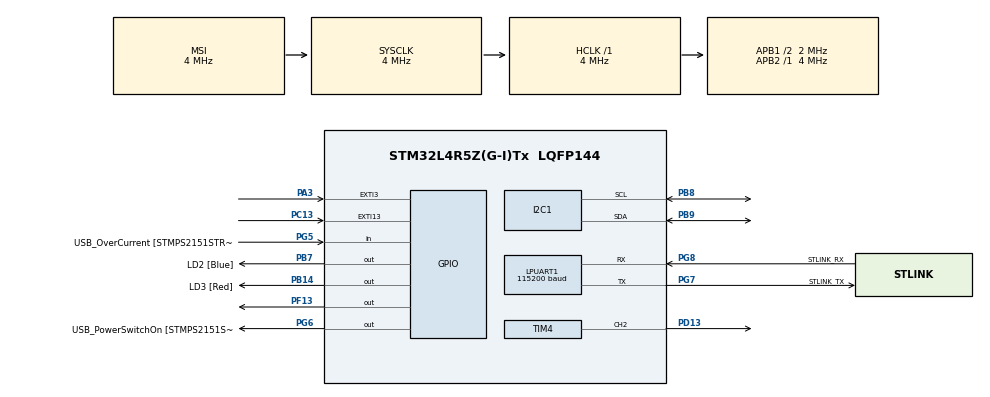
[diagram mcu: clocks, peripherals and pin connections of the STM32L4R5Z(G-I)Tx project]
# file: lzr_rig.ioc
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I2C1.Timing=0x00000508
LPUART1.BaudRate=115200
LPUART1.WordLength=UART_WORDLENGTH_8B
Mcu.Family=STM32L4
Mcu.Name=STM32L4R5Z(G-I)Tx
Mcu.Package=LQFP144
NVIC.EXTI3_IRQn=true\:0\:0\:false\:false\:true\:true\:true\:true
NVIC.PriorityGroup=NVIC_PRIORITYGROUP_4
NVIC.TIM4_IRQn=true\:0\:0\:false\:false\:true\:true\:true\:true
PA10.GPIO_Label=USB_ID
PA10.Signal=USB_OTG_FS_ID
PA11.GPIO_Label=USB_DM
PA11.Signal=USB_OTG_FS_DM
PA12.GPIO_Label=USB_DP
PA12.Signal=USB_OTG_FS_DP
PA13\ (JTMS/SWDIO).GPIO_Label=TMS
PA13\ (JTMS/SWDIO).Mode=Trace_Asynchronous_SW
PA13\ (JTMS/SWDIO).Signal=SYS_JTMS-SWDIO
PA14\ (JTCK/SWCLK).GPIO_Label=TCK
PA14\ (JTCK/SWCLK).Mode=Trace_Asynchronous_SW
PA14\ (JTCK/SWCLK).Signal=SYS_JTCK-SWCLK
PA3.Signal=GPXTI3
PA8.GPIO_Label=USB_SOF [TP1]
PA8.Signal=USB_OTG_FS_SOF
PA9.GPIO_Label=USB_VBUS
PA9.Signal=USB_OTG_FS_VBUS
PB14.GPIO_Label=LD3 [Red]
PB14.Signal=GPIO_Output
PB3\ (JTDO/TRACESWO).GPIO_Label=SWO
PB3\ (JTDO/TRACESWO).Mode=Trace_Asynchronous_SW
PB3\ (JTDO/TRACESWO).Signal=SYS_JTDO-SWO
PB7.GPIO_Label=LD2 [Blue]
PB7.Signal=GPIO_Output
PB8.Mode=I2C
PB8.Signal=I2C1_SCL
PB9.Mode=I2C
PB9.Signal=I2C1_SDA
PC13.Signal=GPXTI13
PC14-OSC32_IN\ (PC14).Mode=LSE-External-Oscillator
PC14-OSC32_IN\ (PC14).Signal=RCC_OSC32_IN
PC15-OSC32_OUT\ (PC15).Mode=LSE-External-Oscillator
PC15-OSC32_OUT\ (PC15).Signal=RCC_OSC32_OUT
PD13.Signal=S_TIM4_CH2
PD8.GPIO_Label=STLK_RX [STM32F103CBT6_PA3]
PD8.Signal=USART3_TX
PD9.GPIO_Label=STLK_TX [STM32F103CBT6_PA2]
PD9.Signal=USART3_RX
PF13.Signal=GPIO_Output
PG5.GPIO_Label=USB_OverCurrent [STMPS2151STR_FAULT]
PG5.Signal=GPIO_Input
PG6.GPIO_Label=USB_PowerSwitchOn [STMPS2151STR_En]
PG6.Signal=GPIO_Output
PG7.GPIO_Label=STLINK_TX
PG7.Mode=Asynchronous
PG7.Signal=LPUART1_TX
PG8.GPIO_Label=STLINK_RX
PG8.Mode=Asynchronous
PG8.Signal=LPUART1_RX
PH0-OSC_IN\ (PH0).Mode=HSE-External-Clock-Source
PH0-OSC_IN\ (PH0).Signal=RCC_OSC_IN
PH1-OSC_OUT\ (PH1).Signal=RCC_OSC_OUT
ProjectManager.HeapSize=0x200
ProjectManager.StackSize=0x400
ProjectManager.TargetToolchain=STM32CubeIDE
RCC.48MHZClocksFreq_Value=24000000
RCC.AHBFreq_Value=4000000
RCC.APB1CLKDivider=RCC_HCLK_DIV2
RCC.APB1Freq_Value=2000000
RCC.APB1TimFreq_Value=4000000
RCC.APB2Freq_Value=4000000
RCC.APB2TimFreq_Value=4000000
RCC.CortexFreq_Value=4000000
RCC.HCLKFreq_Value=4000000
RCC.HSE_VALUE=8000000
RCC.HSI48_VALUE=48000000
RCC.HSI_VALUE=16000000
RCC.MSI_VALUE=4000000
RCC.PLLMUL=RCC_PLL_MUL9
RCC.PRESCALERUSB=RCC_USBCLKSOURCE_PLL_DIV1_5
RCC.SYSCLKFreq_VALUE=4000000
RCC.SYSCLKSourceVirtual=RCC_SYSCLKSOURCE_PLLCLK
RCC.USBFreq_Value=16000000
RCC.VCOOutputFreq_Value=32000000
SH.S_TIM4_CH2.0=TIM4_CH2,Output Compare2 CH2
TIM4.Channel-Output\ Compare2\ CH2=TIM_CHANNEL_2
TIM4.Period=999
TIM4.Prescaler=3999
VP_TIM4_VS_ClockSourceINT.Mode=Internal
board=NUCLEO-L4R5ZI

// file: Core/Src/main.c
/* USER CODE BEGIN Header */
/**
  ******************************************************************************
  * @file           : main.c
  * @brief          : Main program body
  ******************************************************************************
  * @attention
  *
  * Copyright (c) 2025 STMicroelectronics.
  * All rights reserved.
  *
  * This software is licensed under terms that can be found in the LICENSE file
  * in the root directory of this software component.
  * If no LICENSE file comes with this software, it is provided AS-IS.
  *
  ******************************************************************************
  */
/* USER CODE END Header */
#include "main.h"

/* USER CODE BEGIN Includes */
#include "stdio.h"
#include "math.h"
/* USER CODE END Includes */

/* USER CODE BEGIN PD */

#define SAD_W_M 0x3C
#define SAD_R_M 0x3D
#define SAD_W_A 0x32
#define SAD_R_A 0x33
/* USER CODE END PD */

I2C_HandleTypeDef hi2c1;

UART_HandleTypeDef hlpuart1;

TIM_HandleTypeDef htim4;

/* USER CODE BEGIN PV */
int trig = 1;
/* USER CODE END PV */

void SystemClock_Config(void);
static void MX_GPIO_Init(void);
static void MX_I2C1_Init(void);
static void MX_LPUART1_UART_Init(void);
static void MX_TIM4_Init(void);

/* USER CODE BEGIN 0 */
void HAL_GPIO_EXTI_Callback(uint16_t pin) {
	if(pin == 8) { // Why is this 1 and not 0? when pin = 0, or why is it 8 when its pin 3
		// Read CLICK_SRC_A
		uint8_t buf[10] = {0x39}; // CLICK_SRC_A Address
		HAL_I2C_Master_Transmit(&hi2c1, SAD_W_A, &buf[0], 1, 1000);
		HAL_I2C_Master_Receive(&hi2c1, SAD_R_A, &buf[0], 1, 1000);

		// Trigger LED
		HAL_GPIO_WritePin(GPIOF, GPIO_PIN_13, 1);
		__HAL_TIM_SET_COUNTER(&htim4, 0);
		HAL_TIM_Base_Start_IT(&htim4);

	}

}

/* USER CODE END 0 */

int main(void)
{

  /* USER CODE BEGIN 1 */
//	HAL_TIM_Base_Start_IT(&htim4);
  /* USER CODE END 1 */

  /* MCU Configuration--------------------------------------------------------*/

  /* Reset of all peripherals, Initializes the Flash interface and the Systick. */
  HAL_Init();

  /* Configure the system clock */
  SystemClock_Config();

  /* Initialize all configured peripherals */
  MX_GPIO_Init();
  MX_I2C1_Init();
  MX_LPUART1_UART_Init();
  MX_TIM4_Init();
  /* USER CODE BEGIN 2 */
  // Initial ctrl1
   uint8_t buf[10] = {0x20};
   buf[1] = 0x97;
   HAL_I2C_Master_Transmit(&hi2c1, SAD_W_A, &buf[0], 2, 1000);

	// Intialize The Accelerometer Click Interrupt
	buf[0] = 0x22; // CTRL_REG3_A Address
	buf[1] = 0x80; // Enable I1_CLICK
	HAL_I2C_Master_Transmit(&hi2c1, SAD_W_A, &buf[0], 2, 1000);

	// Configure CLICK_CFG_A (Enables which axes counts as taps)
	buf[0] = 0x38; // CLICK_CFG_A Address
	buf[1] = 0x10; // Enable Z single tap
	HAL_I2C_Master_Transmit(&hi2c1, SAD_W_A, &buf[0], 2, 1000);

	// Configure CLICK_THS_A (Configures minimum acceleration needed to register a tap: 7bits)
	buf[0] = 0x3A; // CLICK_THS_A Address
	buf[1] = 62*3; // Range 0-255 Default: 62
	// TODO: Set the THS Based on init values
	HAL_I2C_Master_Transmit(&hi2c1, SAD_W_A, &buf[0], 2, 1000);

	// Configure TIME_LIMIT_A (Max time a tap can last)
	buf[0] = 0x3B; // TIME_LIMIT_A Address
	buf[1] = 0x43; // Max 50 ms TODO: Configure this (TIME_LIMIT_A * 1/ODR) = Max Time
	HAL_I2C_Master_Transmit(&hi2c1, SAD_W_A, &buf[0], 2, 1000);

  /* USER CODE END 2 */

  /* Infinite loop */
  /* USER CODE BEGIN WHILE */
  while (1)
  {
	  // Do Nothing
	  HAL_Delay(1000);

    /* USER CODE END WHILE */

  }
}

void SystemClock_Config(void)
{
  RCC_OscInitTypeDef RCC_OscInitStruct = {0};
  RCC_ClkInitTypeDef RCC_ClkInitStruct = {0};

  /** Configure the main internal regulator output voltage
  */
  if (HAL_PWREx_ControlVoltageScaling(PWR_REGULATOR_VOLTAGE_SCALE1) != HAL_OK)
  {
    Error_Handler();
  }

  /** Initializes the RCC Oscillators according to the specified parameters
  * in the RCC_OscInitTypeDef structure.
  */
  RCC_OscInitStruct.OscillatorType = RCC_OSCILLATORTYPE_MSI;
  RCC_OscInitStruct.MSIState = RCC_MSI_ON;
  RCC_OscInitStruct.MSICalibrationValue = 0;
  RCC_OscInitStruct.MSIClockRange = RCC_MSIRANGE_6;
  RCC_OscInitStruct.PLL.PLLState = RCC_PLL_NONE;
  if (HAL_RCC_OscConfig(&RCC_OscInitStruct) != HAL_OK)
  {
    Error_Handler();
  }

  /** Initializes the CPU, AHB and APB buses clocks
  */
  RCC_ClkInitStruct.ClockType = RCC_CLOCKTYPE_HCLK|RCC_CLOCKTYPE_SYSCLK
                              |RCC_CLOCKTYPE_PCLK1|RCC_CLOCKTYPE_PCLK2;
  RCC_ClkInitStruct.SYSCLKSource = RCC_SYSCLKSOURCE_MSI;
  RCC_ClkInitStruct.AHBCLKDivider = RCC_SYSCLK_DIV1;
  RCC_ClkInitStruct.APB1CLKDivider = RCC_HCLK_DIV2;
  RCC_ClkInitStruct.APB2CLKDivider = RCC_HCLK_DIV1;

  if (HAL_RCC_ClockConfig(&RCC_ClkInitStruct, FLASH_LATENCY_0) != HAL_OK)
  {
    Error_Handler();
  }
}

static void MX_I2C1_Init(void)
{

  hi2c1.Instance = I2C1;
  hi2c1.Init.Timing = 0x00000508;
  hi2c1.Init.OwnAddress1 = 0;
  hi2c1.Init.AddressingMode = I2C_ADDRESSINGMODE_7BIT;
  hi2c1.Init.DualAddressMode = I2C_DUALADDRESS_DISABLE;
  hi2c1.Init.OwnAddress2 = 0;
  hi2c1.Init.OwnAddress2Masks = I2C_OA2_NOMASK;
  hi2c1.Init.GeneralCallMode = I2C_GENERALCALL_DISABLE;
  hi2c1.Init.NoStretchMode = I2C_NOSTRETCH_DISABLE;
  if (HAL_I2C_Init(&hi2c1) != HAL_OK)
  {
    Error_Handler();
  }

  /** Configure Analogue filter
  */
  if (HAL_I2CEx_ConfigAnalogFilter(&hi2c1, I2C_ANALOGFILTER_ENABLE) != HAL_OK)
  {
    Error_Handler();
  }

  /** Configure Digital filter
  */
  if (HAL_I2CEx_ConfigDigitalFilter(&hi2c1, 0) != HAL_OK)
  {
    Error_Handler();
  }

}

static void MX_LPUART1_UART_Init(void)
{

  hlpuart1.Instance = LPUART1;
  hlpuart1.Init.BaudRate = 115200;
  hlpuart1.Init.WordLength = UART_WORDLENGTH_8B;
  hlpuart1.Init.StopBits = UART_STOPBITS_1;
  hlpuart1.Init.Parity = UART_PARITY_NONE;
  hlpuart1.Init.Mode = UART_MODE_TX_RX;
  hlpuart1.Init.HwFlowCtl = UART_HWCONTROL_NONE;
  hlpuart1.Init.OneBitSampling = UART_ONE_BIT_SAMPLE_DISABLE;
  hlpuart1.Init.ClockPrescaler = UART_PRESCALER_DIV1;
  hlpuart1.AdvancedInit.AdvFeatureInit = UART_ADVFEATURE_NO_INIT;
  hlpuart1.FifoMode = UART_FIFOMODE_DISABLE;
  if (HAL_UART_Init(&hlpuart1) != HAL_OK)
  {
    Error_Handler();
  }
  if (HAL_UARTEx_SetTxFifoThreshold(&hlpuart1, UART_TXFIFO_THRESHOLD_1_8) != HAL_OK)
  {
    Error_Handler();
  }
  if (HAL_UARTEx_SetRxFifoThreshold(&hlpuart1, UART_RXFIFO_THRESHOLD_1_8) != HAL_OK)
  {
    Error_Handler();
  }
  if (HAL_UARTEx_DisableFifoMode(&hlpuart1) != HAL_OK)
  {
    Error_Handler();
  }

}

static void MX_TIM4_Init(void)
{

  TIM_ClockConfigTypeDef sClockSourceConfig = {0};
  TIM_MasterConfigTypeDef sMasterConfig = {0};
  TIM_OC_InitTypeDef sConfigOC = {0};

  htim4.Instance = TIM4;
  htim4.Init.Prescaler = 3999;
  htim4.Init.CounterMode = TIM_COUNTERMODE_UP;
  htim4.Init.Period = 999;
  htim4.Init.ClockDivision = TIM_CLOCKDIVISION_DIV1;
  htim4.Init.AutoReloadPreload = TIM_AUTORELOAD_PRELOAD_DISABLE;
  if (HAL_TIM_Base_Init(&htim4) != HAL_OK)
  {
    Error_Handler();
  }
  sClockSourceConfig.ClockSource = TIM_CLOCKSOURCE_INTERNAL;
  if (HAL_TIM_ConfigClockSource(&htim4, &sClockSourceConfig) != HAL_OK)
  {
    Error_Handler();
  }
  if (HAL_TIM_OC_Init(&htim4) != HAL_OK)
  {
    Error_Handler();
  }
  sMasterConfig.MasterOutputTrigger = TIM_TRGO_RESET;
  sMasterConfig.MasterSlaveMode = TIM_MASTERSLAVEMODE_DISABLE;
  if (HAL_TIMEx_MasterConfigSynchronization(&htim4, &sMasterConfig) != HAL_OK)
  {
    Error_Handler();
  }
  sConfigOC.OCMode = TIM_OCMODE_TIMING;
  sConfigOC.Pulse = 0;
  sConfigOC.OCPolarity = TIM_OCPOLARITY_HIGH;
  sConfigOC.OCFastMode = TIM_OCFAST_DISABLE;
  if (HAL_TIM_OC_ConfigChannel(&htim4, &sConfigOC, TIM_CHANNEL_2) != HAL_OK)
  {
    Error_Handler();
  }
  HAL_TIM_MspPostInit(&htim4);

}

static void MX_GPIO_Init(void)
{
  GPIO_InitTypeDef GPIO_InitStruct = {0};

  /* GPIO Ports Clock Enable */
  __HAL_RCC_GPIOC_CLK_ENABLE();
  __HAL_RCC_GPIOH_CLK_ENABLE();
  __HAL_RCC_GPIOA_CLK_ENABLE();
  __HAL_RCC_GPIOF_CLK_ENABLE();
  __HAL_RCC_GPIOB_CLK_ENABLE();
  __HAL_RCC_GPIOD_CLK_ENABLE();
  __HAL_RCC_GPIOG_CLK_ENABLE();
  HAL_PWREx_EnableVddIO2();

  /*Configure GPIO pin Output Level */
  HAL_GPIO_WritePin(GPIOF, GPIO_PIN_13, GPIO_PIN_RESET);

  /*Configure GPIO pin Output Level */
  HAL_GPIO_WritePin(GPIOB, LD3_Pin|LD2_Pin, GPIO_PIN_RESET);

  /*Configure GPIO pin Output Level */
  HAL_GPIO_WritePin(USB_PowerSwitchOn_GPIO_Port, USB_PowerSwitchOn_Pin, GPIO_PIN_RESET);

  /*Configure GPIO pin : PC13 */
  GPIO_InitStruct.Pin = GPIO_PIN_13;
  GPIO_InitStruct.Mode = GPIO_MODE_IT_RISING;
  GPIO_InitStruct.Pull = GPIO_NOPULL;
  HAL_GPIO_Init(GPIOC, &GPIO_InitStruct);

  /*Configure GPIO pin : PA3 */
  GPIO_InitStruct.Pin = GPIO_PIN_3;
  GPIO_InitStruct.Mode = GPIO_MODE_IT_RISING;
  GPIO_InitStruct.Pull = GPIO_NOPULL;
  HAL_GPIO_Init(GPIOA, &GPIO_InitStruct);

  /*Configure GPIO pin : PF13 */
  GPIO_InitStruct.Pin = GPIO_PIN_13;
  GPIO_InitStruct.Mode = GPIO_MODE_OUTPUT_PP;
  GPIO_InitStruct.Pull = GPIO_NOPULL;
  GPIO_InitStruct.Speed = GPIO_SPEED_FREQ_LOW;
  HAL_GPIO_Init(GPIOF, &GPIO_InitStruct);

  /*Configure GPIO pins : LD3_Pin LD2_Pin */
  GPIO_InitStruct.Pin = LD3_Pin|LD2_Pin;
  GPIO_InitStruct.Mode = GPIO_MODE_OUTPUT_PP;
  GPIO_InitStruct.Pull = GPIO_NOPULL;
  GPIO_InitStruct.Speed = GPIO_SPEED_FREQ_LOW;
  HAL_GPIO_Init(GPIOB, &GPIO_InitStruct);

  /*Configure GPIO pins : STLK_RX_Pin STLK_TX_Pin */
  GPIO_InitStruct.Pin = STLK_RX_Pin|STLK_TX_Pin;
  GPIO_InitStruct.Mode = GPIO_MODE_AF_PP;
  GPIO_InitStruct.Pull = GPIO_NOPULL;
  GPIO_InitStruct.Speed = GPIO_SPEED_FREQ_VERY_HIGH;
  GPIO_InitStruct.Alternate = GPIO_AF7_USART3;
  HAL_GPIO_Init(GPIOD, &GPIO_InitStruct);

  /*Configure GPIO pin : USB_OverCurrent_Pin */
  GPIO_InitStruct.Pin = USB_OverCurrent_Pin;
  GPIO_InitStruct.Mode = GPIO_MODE_INPUT;
  GPIO_InitStruct.Pull = GPIO_NOPULL;
  HAL_GPIO_Init(USB_OverCurrent_GPIO_Port, &GPIO_InitStruct);

  /*Configure GPIO pin : USB_PowerSwitchOn_Pin */
  GPIO_InitStruct.Pin = USB_PowerSwitchOn_Pin;
  GPIO_InitStruct.Mode = GPIO_MODE_OUTPUT_PP;
  GPIO_InitStruct.Pull = GPIO_NOPULL;
  GPIO_InitStruct.Speed = GPIO_SPEED_FREQ_LOW;
  HAL_GPIO_Init(USB_PowerSwitchOn_GPIO_Port, &GPIO_InitStruct);

  /*Configure GPIO pins : USB_SOF_Pin USB_ID_Pin USB_DM_Pin USB_DP_Pin */
  GPIO_InitStruct.Pin = USB_SOF_Pin|USB_ID_Pin|USB_DM_Pin|USB_DP_Pin;
  GPIO_InitStruct.Mode = GPIO_MODE_AF_PP;
  GPIO_InitStruct.Pull = GPIO_NOPULL;
  GPIO_InitStruct.Speed = GPIO_SPEED_FREQ_VERY_HIGH;
  GPIO_InitStruct.Alternate = GPIO_AF10_OTG_FS;
  HAL_GPIO_Init(GPIOA, &GPIO_InitStruct);

  /*Configure GPIO pin : USB_VBUS_Pin */
  GPIO_InitStruct.Pin = USB_VBUS_Pin;
  GPIO_InitStruct.Mode = GPIO_MODE_INPUT;
  GPIO_InitStruct.Pull = GPIO_NOPULL;
  HAL_GPIO_Init(USB_VBUS_GPIO_Port, &GPIO_InitStruct);

  /* EXTI interrupt init*/
  HAL_NVIC_SetPriority(EXTI3_IRQn, 0, 0);
  HAL_NVIC_EnableIRQ(EXTI3_IRQn);

}

/* USER CODE BEGIN 4 */

#ifdef __GNUC__
#define PUTCHAR_PROTOTYPE int __io_putchar(int ch)
#else
  #define PUTCHAR_PROTOTYPE int fputc(int ch, FILE *f)
#endif /* __GNUC__ */
PUTCHAR_PROTOTYPE
{
  HAL_UART_Transmit(&hlpuart1, (uint8_t *)&ch, 1, 0xFFFF);
  return ch;
}
/* USER CODE END 4 */

void Error_Handler(void)
{
  __disable_irq();
  while (1)
  {
  }
}
